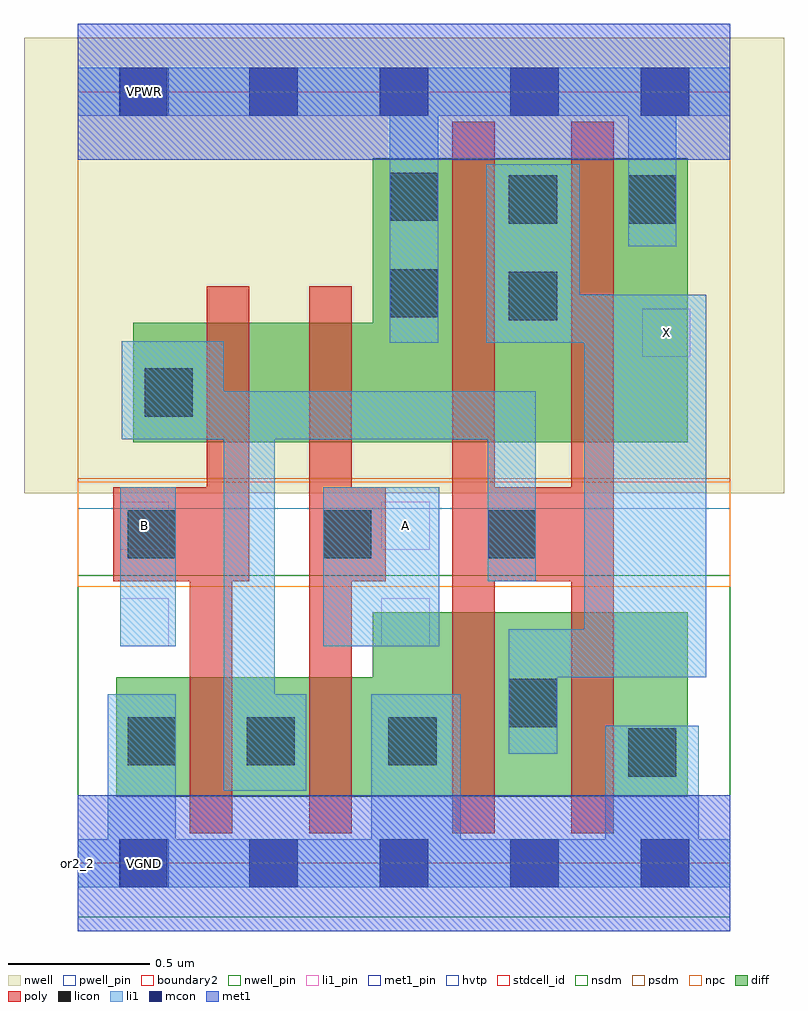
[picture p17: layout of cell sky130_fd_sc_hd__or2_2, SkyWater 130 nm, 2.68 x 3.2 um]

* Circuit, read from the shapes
.subckt sky130_fd_sc_hd__or2_2 A B VGND VNB VPB VPWR X
XM1 n1 B VGND VNB sky130_fd_pr__nfet_01v8 w=0.42 l=0.15
XM2 VGND A n1 VNB sky130_fd_pr__nfet_01v8 w=0.42 l=0.15
XM3 X n1 VGND VNB sky130_fd_pr__nfet_01v8 w=0.65 l=0.15 m=2
XM4 n2 B n1 VPB sky130_fd_pr__pfet_01v8_hvt w=0.42 l=0.15
XM5 VPWR A n2 VPB sky130_fd_pr__pfet_01v8_hvt w=0.42 l=0.15
XM6 X n1 VPWR VPB sky130_fd_pr__pfet_01v8_hvt w=1 l=0.15 m=2
.ends

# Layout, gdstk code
import gdstk
lib = gdstk.Library(unit=1e-6, precision=1e-09)
def R(c, l, rs):  # rectangles x0, y0, x1, y1
    for r in rs: c.add(gdstk.rectangle(r[:2], r[2:], *l))
def A(c, l, x, y, w, h, nx, ny, dx, dy):  # array of equal rectangles
    R(c, l, [(x+i*dx, y+j*dy, x+i*dx+w, y+j*dy+h) for i in range(nx) for j in range(ny)])
def P(c, l, *ps):  # polygons
    for p in ps: c.add(gdstk.Polygon(p, *l))
nwell_pin = (64, 16)
nwell = (64, 20)
diff = (65, 20)
poly = (66, 20)
licon = (66, 44)
li1_pin = (67, 16)
li1 = (67, 20)
mcon = (67, 44)
met1_pin = (68, 16)
met1 = (68, 20)
hvtp = (78, 44)
stdcell_id = (81, 4)
nsdm = (93, 44)
psdm = (94, 20)
npc = (95, 20)
pwell_pin = (122, 16)
boundary2 = (236, 0)

sky130_fd_sc_hd__or2_2 = lib.new_cell('sky130_fd_sc_hd__or2_2')
R(sky130_fd_sc_hd__or2_2, nwell_pin, [(0.15,2.635,0.32,2.805)])
R(sky130_fd_sc_hd__or2_2, nwell, [(-0.19,1.305,2.49,2.91)])
P(sky130_fd_sc_hd__or2_2, diff, [(2.15,0.885),(1.04,0.885),(1.04,0.655),(0.135,0.655),(0.135,0.235),(2.15,0.235)],
  [(2.15,2.485),(1.04,2.485),(1.04,1.905),(0.195,1.905),(0.195,1.485),(2.15,1.485)])
P(sky130_fd_sc_hd__or2_2, poly, [(1.085,1.325),(0.965,1.325),(0.965,2.035),(0.815,2.035),(0.815,0.105),(0.965,0.105),(0.965,0.995),(1.085,0.995)],
  [(1.89,2.615),(1.74,2.615),(1.74,1.325),(1.47,1.325),(1.47,2.615),(1.32,2.615),(1.32,0.105),(1.47,0.105),(1.47,0.995),(1.74,0.995),(1.74,0.105),(1.89,0.105)],
  [(0.605,2.035),(0.455,2.035),(0.455,1.325),(0.125,1.325),(0.125,0.995),(0.395,0.995),(0.395,0.105),(0.545,0.105),(0.545,0.995),(0.605,0.995)])
R(sky130_fd_sc_hd__or2_2, licon, [(1.94,0.305,2.11,0.475), (0.175,0.345,0.345,0.515), (0.595,0.345,0.765,0.515), (1.095,0.345,1.265,0.515), (1.52,0.48,1.69,0.65), (0.175,1.075,0.345,1.245), (0.865,1.075,1.035,1.245), (1.445,1.075,1.615,1.245), (0.235,1.575,0.405,1.745), (1.52,1.915,1.69,2.085), (1.1,1.925,1.27,2.095), (1.52,2.255,1.69,2.425), (1.94,2.255,2.11,2.425), (1.1,2.265,1.27,2.435)])
R(sky130_fd_sc_hd__or2_2, li1_pin, [(0.15,0.765,0.32,0.935), (1.07,0.765,1.24,0.935), (0.15,1.105,0.32,1.275), (1.07,1.105,1.24,1.275), (1.99,1.785,2.16,1.955)])
R(sky130_fd_sc_hd__or2_2, li1, [(0.15,0.765,0.345,1.325), (0.865,0.765,1.275,1.325)])
P(sky130_fd_sc_hd__or2_2, li1, [(2.3,0.085),(2.19,0.085),(2.19,0.485),(1.86,0.485),(1.86,0.085),(1.35,0.085),(1.35,0.595),(1.035,0.595),(1.035,0.085),(0.345,0.085),(0.345,0.595),(0.105,0.595),(0.105,0.085),(0,0.085),(0,-0.085),(2.3,-0.085)],
  [(2.3,2.805),(0,2.805),(0,2.635),(1.1,2.635),(1.1,1.835),(1.27,1.835),(1.27,2.635),(1.94,2.635),(1.94,2.175),(2.11,2.175),(2.11,2.635),(2.3,2.635)],
  [(2.215,2.005),(1.77,2.005),(1.77,2.465),(1.44,2.465),(1.44,1.835),(1.785,1.835),(1.785,0.825),(1.52,0.825),(1.52,0.385),(1.69,0.385),(1.69,0.655),(2.215,0.655)],
  [(1.615,1.665),(0.515,1.665),(0.515,1.84),(0.155,1.84),(0.155,1.495),(0.515,1.495),(0.515,0.255),(0.805,0.255),(0.805,0.595),(0.695,0.595),(0.695,1.495),(1.445,1.495),(1.445,0.995),(1.615,0.995)])
A(sky130_fd_sc_hd__or2_2, mcon, 0.145, -0.085, 0.17, 0.17, 5, 2, 0.46, 2.72)
R(sky130_fd_sc_hd__or2_2, met1_pin, [(0.15,-0.085,0.32,0.085), (0.15,2.635,0.32,2.805)])
R(sky130_fd_sc_hd__or2_2, hvtp, [(0,1.25,2.3,2.72)])
R(sky130_fd_sc_hd__or2_2, stdcell_id, [(0,0,2.3,2.72)])
R(sky130_fd_sc_hd__or2_2, nsdm, [(0,-0.19,2.3,1.015)])
R(sky130_fd_sc_hd__or2_2, psdm, [(0,1.355,2.3,2.91)])
R(sky130_fd_sc_hd__or2_2, npc, [(0,0.975,2.3,1.345)])
R(sky130_fd_sc_hd__or2_2, pwell_pin, [(0.15,-0.085,0.32,0.085)])
R(sky130_fd_sc_hd__or2_2, boundary2, [(0,0,2.3,2.72)])
sky130_fd_sc_hd__or2_2.add(gdstk.FlexPath([(0,0),(2.3,0)], 0.48, ends="flush", simple_path=True, layer=68, datatype=20))  # met1
sky130_fd_sc_hd__or2_2.add(gdstk.FlexPath([(0,2.72),(2.3,2.72)], 0.48, ends="flush", simple_path=True, layer=68, datatype=20))  # met1
sky130_fd_sc_hd__or2_2.add(gdstk.Label('B', (0.235,1.19), layer=67, texttype=5))
sky130_fd_sc_hd__or2_2.add(gdstk.Label('X', (2.075,1.87), layer=67, texttype=5))
sky130_fd_sc_hd__or2_2.add(gdstk.Label('A', (1.155,1.19), layer=67, texttype=5))
sky130_fd_sc_hd__or2_2.add(gdstk.Label('VPWR', (0.235,2.72), layer=68, texttype=5))
sky130_fd_sc_hd__or2_2.add(gdstk.Label('VGND', (0.235,0), layer=68, texttype=5))
sky130_fd_sc_hd__or2_2.add(gdstk.Label('VPB', (0.235,2.72), layer=64, texttype=5))
sky130_fd_sc_hd__or2_2.add(gdstk.Label('VNB', (0.235,0), layer=64, texttype=59))
sky130_fd_sc_hd__or2_2.add(gdstk.Label('or2_2', (0,0), layer=83, texttype=44))

lib.write_gds('sky130_fd_sc_hd__or2_2.gds')
